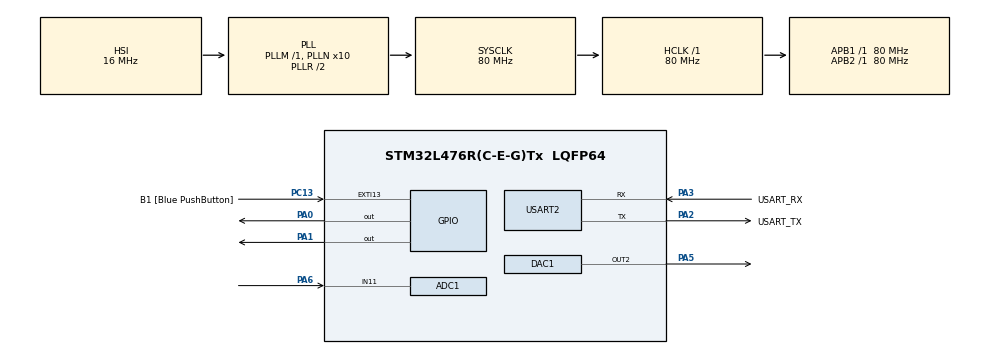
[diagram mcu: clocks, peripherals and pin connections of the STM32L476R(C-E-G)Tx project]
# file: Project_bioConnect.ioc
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ADC1.Channel-2\#ChannelRegularConversion=ADC_CHANNEL_11
ADC1.ClockPrescaler=ADC_CLOCK_ASYNC_DIV256
ADC1.ContinuousConvMode=DISABLE
ADC1.NbrOfConversionFlag=1
ADC1.OffsetNumber-2\#ChannelRegularConversion=ADC_OFFSET_NONE
ADC1.Rank-2\#ChannelRegularConversion=1
ADC1.SamplingTime-2\#ChannelRegularConversion=ADC_SAMPLETIME_12CYCLES_5
ADC1.master=1
DAC1.DAC_Channel-DAC_OUT2=DAC_CHANNEL_2
Mcu.Family=STM32L4
Mcu.Name=STM32L476R(C-E-G)Tx
Mcu.Package=LQFP64
NVIC.PriorityGroup=NVIC_PRIORITYGROUP_4
PA0.Signal=GPIO_Output
PA1.Signal=GPIO_Output
PA13\ (JTMS-SWDIO).GPIO_Label=TMS
PA13\ (JTMS-SWDIO).Mode=Serial_Wire
PA13\ (JTMS-SWDIO).Signal=SYS_JTMS-SWDIO
PA14\ (JTCK-SWCLK).GPIO_Label=TCK
PA14\ (JTCK-SWCLK).Mode=Serial_Wire
PA14\ (JTCK-SWCLK).Signal=SYS_JTCK-SWCLK
PA2.GPIO_Label=USART_TX
PA2.GPIO_Mode=GPIO_MODE_AF_PP
PA2.GPIO_PuPd=GPIO_NOPULL
PA2.GPIO_Speed=GPIO_SPEED_FREQ_VERY_HIGH
PA2.Mode=Asynchronous
PA2.Signal=USART2_TX
PA3.GPIO_Label=USART_RX
PA3.GPIO_Mode=GPIO_MODE_AF_PP
PA3.GPIO_PuPd=GPIO_NOPULL
PA3.GPIO_Speed=GPIO_SPEED_FREQ_VERY_HIGH
PA3.Mode=Asynchronous
PA3.Signal=USART2_RX
PA5.Signal=COMP_DAC12_group
PA6.Signal=ADCx_IN11
PB3\ (JTDO-TRACESWO).GPIO_Label=SWO
PB3\ (JTDO-TRACESWO).Signal=SYS_JTDO-SWO
PC13.GPIO_Label=B1 [Blue PushButton]
PC13.GPIO_ModeDefaultEXTI=GPIO_MODE_IT_FALLING
PC13.GPIO_PuPd=GPIO_NOPULL
PC13.Signal=GPXTI13
PC14-OSC32_IN\ (PC14).Mode=LSE-External-Oscillator
PC14-OSC32_IN\ (PC14).Signal=RCC_OSC32_IN
PC15-OSC32_OUT\ (PC15).Mode=LSE-External-Oscillator
PC15-OSC32_OUT\ (PC15).Signal=RCC_OSC32_OUT
PH0-OSC_IN\ (PH0).Signal=RCC_OSC_IN
PH1-OSC_OUT\ (PH1).Signal=RCC_OSC_OUT
ProjectManager.HeapSize=0x200
ProjectManager.StackSize=0x400
ProjectManager.TargetToolchain=STM32CubeIDE
RCC.ADCFreq_Value=64000000
RCC.AHBFreq_Value=80000000
RCC.APB1Freq_Value=80000000
RCC.APB1TimFreq_Value=80000000
RCC.APB2Freq_Value=80000000
RCC.APB2TimFreq_Value=80000000
RCC.CortexFreq_Value=80000000
RCC.HCLKFreq_Value=80000000
RCC.HSE_VALUE=8000000
RCC.HSI_VALUE=16000000
RCC.MSI_VALUE=4000000
RCC.PLLN=10
RCC.PLLSourceVirtual=RCC_PLLSOURCE_HSI
RCC.PREFETCH_ENABLE=1
RCC.SYSCLKFreq_VALUE=80000000
RCC.SYSCLKSource=RCC_SYSCLKSOURCE_PLLCLK
RCC.USBFreq_Value=64000000
RCC.VCOOutputFreq_Value=160000000
SH.ADCx_IN11.0=ADC1_IN11,IN11-Single-Ended
SH.COMP_DAC12_group.0=DAC1_OUT2,DAC_OUT2
USART2.VirtualMode-Asynchronous=VM_ASYNC
board=NUCLEO-L476RG

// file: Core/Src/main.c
/* USER CODE BEGIN Header */
/**
  ******************************************************************************
  * @file           : main.c
  * @brief          : Main program body
  ******************************************************************************
  * @attention
  *
  * Copyright (c) 2024 STMicroelectronics.
  * All rights reserved.
  *
  * This software is licensed under terms that can be found in the LICENSE file
  * in the root directory of this software component.
  * If no LICENSE file comes with this software, it is provided AS-IS.
  *
  ******************************************************************************
  */
/* USER CODE END Header */
#include "main.h"

/* USER CODE BEGIN Includes */
#include "string.h"
#include <stdio.h>
/* USER CODE END Includes */

/* USER CODE BEGIN PD */
#define ADC_TIMEOUT 1000
#define UART_TIMEOUT 1000
/* USER CODE END PD */

ADC_HandleTypeDef hadc1;

DAC_HandleTypeDef hdac1;

UART_HandleTypeDef huart2;

void SystemClock_Config(void);
static void MX_GPIO_Init(void);
static void MX_USART2_UART_Init(void);
static void MX_ADC1_Init(void);
static void MX_DAC1_Init(void);

int main(void)
{
  /* USER CODE BEGIN 1 */
  uint32_t value_adc;
  uint32_t value_dac=0;
  char msg[100] = "Hello, World"; //note that 100 chars is the maximum length of the message
  /* USER CODE END 1 */

  /* MCU Configuration--------------------------------------------------------*/

  /* Reset of all peripherals, Initializes the Flash interface and the Systick. */
  HAL_Init();

  /* Configure the system clock */
  SystemClock_Config();

  /* Initialize all configured peripherals */
  MX_GPIO_Init();
  MX_USART2_UART_Init();
  MX_ADC1_Init();
  MX_DAC1_Init();
  /* USER CODE BEGIN 2 */
  HAL_DAC_Start(&hdac1,DAC_CHANNEL_2);
  HAL_ADCEx_Calibration_Start(&hadc1, ADC_SINGLE_ENDED);
  HAL_UART_Transmit(&huart2, (uint8_t*)msg, strlen(msg), 0xFFFF); //print a hello world to begin the program
  HAL_ADC_Start(&hadc1); //start the ADC in regular mode (no interrupt, no DMA). Needs to be polled.
  /* USER CODE END 2 */

  /* Infinite loop */
  /* USER CODE BEGIN WHILE */
  while (1)
  {
	  //---LED Control---
	  HAL_GPIO_WritePin(GPIOA,GPIO_PIN_0,0); //Turn on LED connected to A0 (low active, "0" turns the LED on)
	  HAL_GPIO_WritePin(GPIOA,GPIO_PIN_1,0); //Turn on LED connected to A1 (low active, "0" turns the LED on)

	  //---ADC---
	  //The ADC returns a 12bit value in unsigned integer format.
	  //The input range of the ADC is 0V < Vin < Vref+. Vref+ is connected to VDD (3.3V)
	  //Therefore, the ADC value 0x000 corresponds to 0V input voltage, and the ADC value 0xFFF corresponds to 3.3V input voltage.
	  HAL_ADC_Start(&hadc1); //start the ADC in regular mode (no interrupt, no DMA). Needs to be polled.
	  HAL_StatusTypeDef ADC_STATUS = HAL_ADC_PollForConversion(&hadc1, ADC_TIMEOUT); //wait for conversion to complete, max wait time is ADC_TIMEOUT
	  if (ADC_STATUS == HAL_OK)
	  {
		  value_adc = HAL_ADC_GetValue(&hadc1); //conversion successful, read out ADC value to variable "value_adc"
	  }
	  else
	  {
		  HAL_UART_Transmit(&huart2, (uint8_t*)"ADC broken", strlen("ADC broken"), UART_TIMEOUT);
	  }

	  //---DAC (for testing purpose only)---
	  //The code below generates a sawtooth waveform and outputs in with the DAC on LD2 and Pin PA5 (D13)
	  //If you want to read back the waveform with the ADC, connect Pins D13+D12 together on your Nucleo Board.
	  //The two values should then be similar.
	  HAL_DAC_SetValue(&hdac1, DAC_CHANNEL_2, DAC_ALIGN_12B_R, value_dac);
	  value_dac++;
	  if(value_dac>4095) {
	    value_dac=0;
      }

      //---ADC raw value transmission over UART---
	  //the values are formatted as long unsigned integer (%lu) and \r\n are used for carriage return (start at leftmost position) and new line.
      sprintf(msg, "%lu\r\n",value_adc);
      HAL_UART_Transmit(&huart2, (uint8_t*)msg, strlen(msg), UART_TIMEOUT);

      //---Wait for systick---
      HAL_Delay(0); //wait for the next systick (1ms) - this limits the sampling rate to 1kHz. We use "0" because the function adds +1.

    /* USER CODE END WHILE */

  }
}

void SystemClock_Config(void)
{
  RCC_OscInitTypeDef RCC_OscInitStruct = {0};
  RCC_ClkInitTypeDef RCC_ClkInitStruct = {0};

  /** Configure the main internal regulator output voltage
  */
  if (HAL_PWREx_ControlVoltageScaling(PWR_REGULATOR_VOLTAGE_SCALE1) != HAL_OK)
  {
    Error_Handler();
  }

  /** Initializes the RCC Oscillators according to the specified parameters
  * in the RCC_OscInitTypeDef structure.
  */
  RCC_OscInitStruct.OscillatorType = RCC_OSCILLATORTYPE_HSI;
  RCC_OscInitStruct.HSIState = RCC_HSI_ON;
  RCC_OscInitStruct.HSICalibrationValue = RCC_HSICALIBRATION_DEFAULT;
  RCC_OscInitStruct.PLL.PLLState = RCC_PLL_ON;
  RCC_OscInitStruct.PLL.PLLSource = RCC_PLLSOURCE_HSI;
  RCC_OscInitStruct.PLL.PLLM = 1;
  RCC_OscInitStruct.PLL.PLLN = 10;
  RCC_OscInitStruct.PLL.PLLP = RCC_PLLP_DIV7;
  RCC_OscInitStruct.PLL.PLLQ = RCC_PLLQ_DIV2;
  RCC_OscInitStruct.PLL.PLLR = RCC_PLLR_DIV2;
  if (HAL_RCC_OscConfig(&RCC_OscInitStruct) != HAL_OK)
  {
    Error_Handler();
  }

  /** Initializes the CPU, AHB and APB buses clocks
  */
  RCC_ClkInitStruct.ClockType = RCC_CLOCKTYPE_HCLK|RCC_CLOCKTYPE_SYSCLK
                              |RCC_CLOCKTYPE_PCLK1|RCC_CLOCKTYPE_PCLK2;
  RCC_ClkInitStruct.SYSCLKSource = RCC_SYSCLKSOURCE_PLLCLK;
  RCC_ClkInitStruct.AHBCLKDivider = RCC_SYSCLK_DIV1;
  RCC_ClkInitStruct.APB1CLKDivider = RCC_HCLK_DIV1;
  RCC_ClkInitStruct.APB2CLKDivider = RCC_HCLK_DIV1;

  if (HAL_RCC_ClockConfig(&RCC_ClkInitStruct, FLASH_LATENCY_4) != HAL_OK)
  {
    Error_Handler();
  }
}

static void MX_ADC1_Init(void)
{

  ADC_MultiModeTypeDef multimode = {0};
  ADC_ChannelConfTypeDef sConfig = {0};

  /** Common config
  */
  hadc1.Instance = ADC1;
  hadc1.Init.ClockPrescaler = ADC_CLOCK_ASYNC_DIV256;
  hadc1.Init.Resolution = ADC_RESOLUTION_12B;
  hadc1.Init.DataAlign = ADC_DATAALIGN_RIGHT;
  hadc1.Init.ScanConvMode = ADC_SCAN_DISABLE;
  hadc1.Init.EOCSelection = ADC_EOC_SINGLE_CONV;
  hadc1.Init.LowPowerAutoWait = DISABLE;
  hadc1.Init.ContinuousConvMode = DISABLE;
  hadc1.Init.NbrOfConversion = 1;
  hadc1.Init.DiscontinuousConvMode = DISABLE;
  hadc1.Init.ExternalTrigConv = ADC_SOFTWARE_START;
  hadc1.Init.ExternalTrigConvEdge = ADC_EXTERNALTRIGCONVEDGE_NONE;
  hadc1.Init.DMAContinuousRequests = DISABLE;
  hadc1.Init.Overrun = ADC_OVR_DATA_PRESERVED;
  hadc1.Init.OversamplingMode = DISABLE;
  if (HAL_ADC_Init(&hadc1) != HAL_OK)
  {
    Error_Handler();
  }

  /** Configure the ADC multi-mode
  */
  multimode.Mode = ADC_MODE_INDEPENDENT;
  if (HAL_ADCEx_MultiModeConfigChannel(&hadc1, &multimode) != HAL_OK)
  {
    Error_Handler();
  }

  /** Configure Regular Channel
  */
  sConfig.Channel = ADC_CHANNEL_11;
  sConfig.Rank = ADC_REGULAR_RANK_1;
  sConfig.SamplingTime = ADC_SAMPLETIME_12CYCLES_5;
  sConfig.SingleDiff = ADC_SINGLE_ENDED;
  sConfig.OffsetNumber = ADC_OFFSET_NONE;
  sConfig.Offset = 0;
  if (HAL_ADC_ConfigChannel(&hadc1, &sConfig) != HAL_OK)
  {
    Error_Handler();
  }

}

static void MX_DAC1_Init(void)
{

  DAC_ChannelConfTypeDef sConfig = {0};

  /** DAC Initialization
  */
  hdac1.Instance = DAC1;
  if (HAL_DAC_Init(&hdac1) != HAL_OK)
  {
    Error_Handler();
  }

  /** DAC channel OUT2 config
  */
  sConfig.DAC_SampleAndHold = DAC_SAMPLEANDHOLD_DISABLE;
  sConfig.DAC_Trigger = DAC_TRIGGER_NONE;
  sConfig.DAC_OutputBuffer = DAC_OUTPUTBUFFER_ENABLE;
  sConfig.DAC_ConnectOnChipPeripheral = DAC_CHIPCONNECT_DISABLE;
  sConfig.DAC_UserTrimming = DAC_TRIMMING_FACTORY;
  if (HAL_DAC_ConfigChannel(&hdac1, &sConfig, DAC_CHANNEL_2) != HAL_OK)
  {
    Error_Handler();
  }

}

static void MX_USART2_UART_Init(void)
{

  huart2.Instance = USART2;
  huart2.Init.BaudRate = 115200;
  huart2.Init.WordLength = UART_WORDLENGTH_8B;
  huart2.Init.StopBits = UART_STOPBITS_1;
  huart2.Init.Parity = UART_PARITY_NONE;
  huart2.Init.Mode = UART_MODE_TX_RX;
  huart2.Init.HwFlowCtl = UART_HWCONTROL_NONE;
  huart2.Init.OverSampling = UART_OVERSAMPLING_16;
  huart2.Init.OneBitSampling = UART_ONE_BIT_SAMPLE_DISABLE;
  huart2.AdvancedInit.AdvFeatureInit = UART_ADVFEATURE_NO_INIT;
  if (HAL_UART_Init(&huart2) != HAL_OK)
  {
    Error_Handler();
  }

}

static void MX_GPIO_Init(void)
{
  GPIO_InitTypeDef GPIO_InitStruct = {0};

  /* GPIO Ports Clock Enable */
  __HAL_RCC_GPIOC_CLK_ENABLE();
  __HAL_RCC_GPIOH_CLK_ENABLE();
  __HAL_RCC_GPIOA_CLK_ENABLE();
  __HAL_RCC_GPIOB_CLK_ENABLE();

  /*Configure GPIO pin Output Level */
  HAL_GPIO_WritePin(GPIOA, GPIO_PIN_0|GPIO_PIN_1, GPIO_PIN_RESET);

  /*Configure GPIO pin : B1_Pin */
  GPIO_InitStruct.Pin = B1_Pin;
  GPIO_InitStruct.Mode = GPIO_MODE_IT_FALLING;
  GPIO_InitStruct.Pull = GPIO_NOPULL;
  HAL_GPIO_Init(B1_GPIO_Port, &GPIO_InitStruct);

  /*Configure GPIO pins : PA0 PA1 */
  GPIO_InitStruct.Pin = GPIO_PIN_0|GPIO_PIN_1;
  GPIO_InitStruct.Mode = GPIO_MODE_OUTPUT_PP;
  GPIO_InitStruct.Pull = GPIO_NOPULL;
  GPIO_InitStruct.Speed = GPIO_SPEED_FREQ_LOW;
  HAL_GPIO_Init(GPIOA, &GPIO_InitStruct);

}

void Error_Handler(void)
{
  __disable_irq();
  while (1)
  {
  }
}
